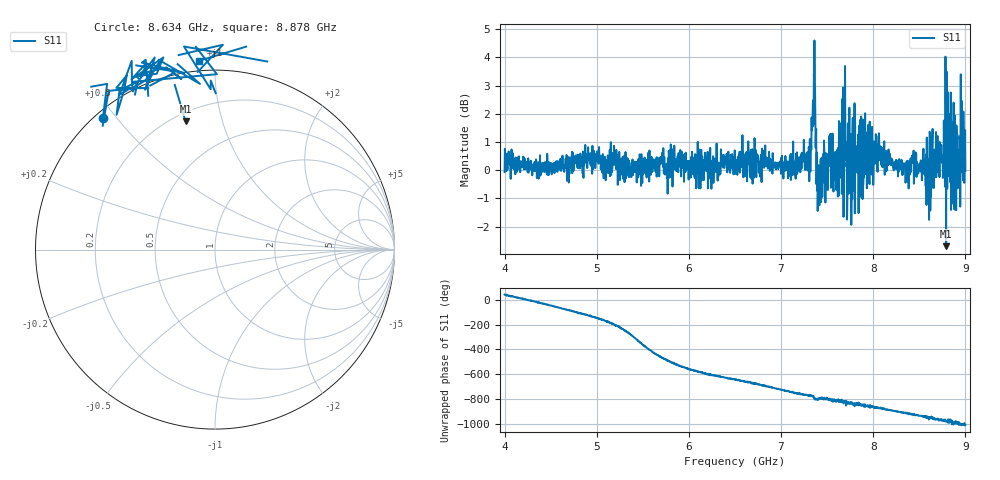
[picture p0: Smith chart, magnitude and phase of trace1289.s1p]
! Created with skrf 1.8.0 (http://scikit-rf.org).
# Hz S RI R 50.0
!freq ReS11 ImS11
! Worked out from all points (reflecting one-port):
!   1601 points, 4 GHz to 9 GHz, reference 50 ohm
!   lowest |S11| = -2.7 dB at 8.791 GHz (marker M1), VSWR 6.49, Z = 12.4 + j38.3 ohm
!   phase of S11 starts at 43 deg and turns -1053 deg over the sweep
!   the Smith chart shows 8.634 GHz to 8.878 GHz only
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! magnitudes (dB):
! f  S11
! 4 GHz  -0.1
! 4.625 GHz  0.2
! 5.016 GHz  0.4
! 5.25 GHz  -0.3
! 5.875 GHz  0.3
! 6.5 GHz  0.4
! 7.125 GHz  0.1
! 7.303 GHz  0.7
! 7.356 GHz  3.4
! 7.409 GHz  -0.7
! 7.538 GHz  1.3
! 7.6 GHz  -0.7
! 7.688 GHz  2.0
! 7.725 GHz  1.7
! 7.75 GHz  -0.8
! 7.775 GHz  1.5
! 7.862 GHz  -0.9
! 7.909 GHz  0.3
! 8.053 GHz  0.5
! 8.375 GHz  -0.1
! 8.441 GHz  -0.5
! 8.6 GHz  -1.1
! 8.791 GHz  -2.7
! 8.822 GHz  2.0
! 8.856 GHz  0.7
! 8.919 GHz  -0.1
! 8.972 GHz  -0.2
! 9 GHz  0.0
